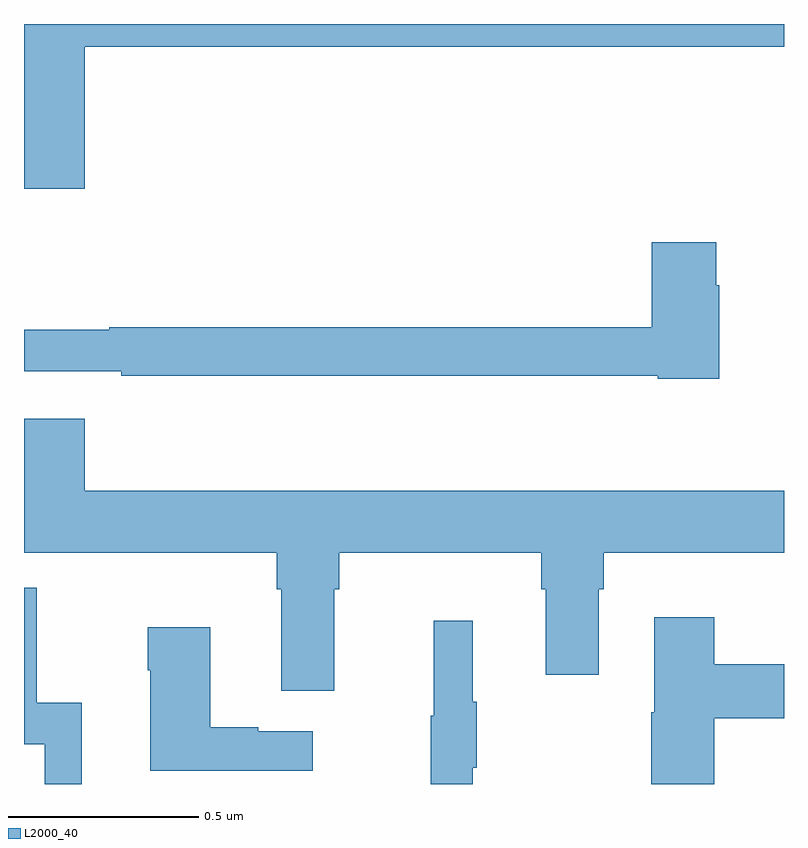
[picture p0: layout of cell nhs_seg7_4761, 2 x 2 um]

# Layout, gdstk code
import gdstk
lib = gdstk.Library(unit=1e-6, precision=1e-09)
def P(c, l, *ps):  # polygons
    for p in ps: c.add(gdstk.Polygon(p, *l))
L2000_40 = (2000, 40)

nhs_seg7_4761 = lib.new_cell('nhs_seg7_4761')
P(nhs_seg7_4761, L2000_40, [(177.16,1009.94),(179,1009.94),(179,1010),(177,1010),(177,1009.566),(177.16,1009.566)],
  [(178.83,1009.313),(178.822,1009.313),(178.822,1009.426),(178.652,1009.426),(178.652,1009.202),(177.224,1009.202),(177.224,1009.195),(177,1009.195),(177,1009.086),(177.256,1009.086),(177.256,1009.074),(178.668,1009.074),(178.668,1009.066),(178.83,1009.066)],
  [(177.817,1008.512),(177.83,1008.512),(177.83,1008.608),(178.361,1008.608),(178.361,1008.512),(178.373,1008.512),(178.373,1008.288),(178.513,1008.288),(178.513,1008.512),(178.526,1008.512),(178.526,1008.608),(179,1008.608),(179,1008.772),(177.16,1008.772),(177.16,1008.961),(177,1008.961),(177,1008.608),(177.665,1008.608),(177.665,1008.512),(177.677,1008.512),(177.677,1008.246),(177.817,1008.246)],
  [(177.152,1008.214),(177.034,1008.214),(177.034,1008.516),(177,1008.516),(177,1008.105),(177.054,1008.105),(177.054,1008),(177.152,1008)],
  [(178.817,1008.173),(179,1008.173),(179,1008.315),(178.817,1008.315),(178.817,1008.439),(178.658,1008.439),(178.658,1008.189),(178.651,1008.189),(178.651,1008),(178.817,1008)],
  [(178.181,1008.043),(178.192,1008.043),(178.192,1008.217),(178.181,1008.217),(178.181,1008.43),(178.078,1008.43),(178.078,1008.18),(178.071,1008.18),(178.071,1008),(178.181,1008)],
  [(177.76,1008.139),(177.617,1008.139),(177.617,1008.149),(177.49,1008.149),(177.49,1008.412),(177.325,1008.412),(177.325,1008.299),(177.332,1008.299),(177.332,1008.035),(177.76,1008.035)])

lib.write_gds('nhs_seg7_4761.gds')
